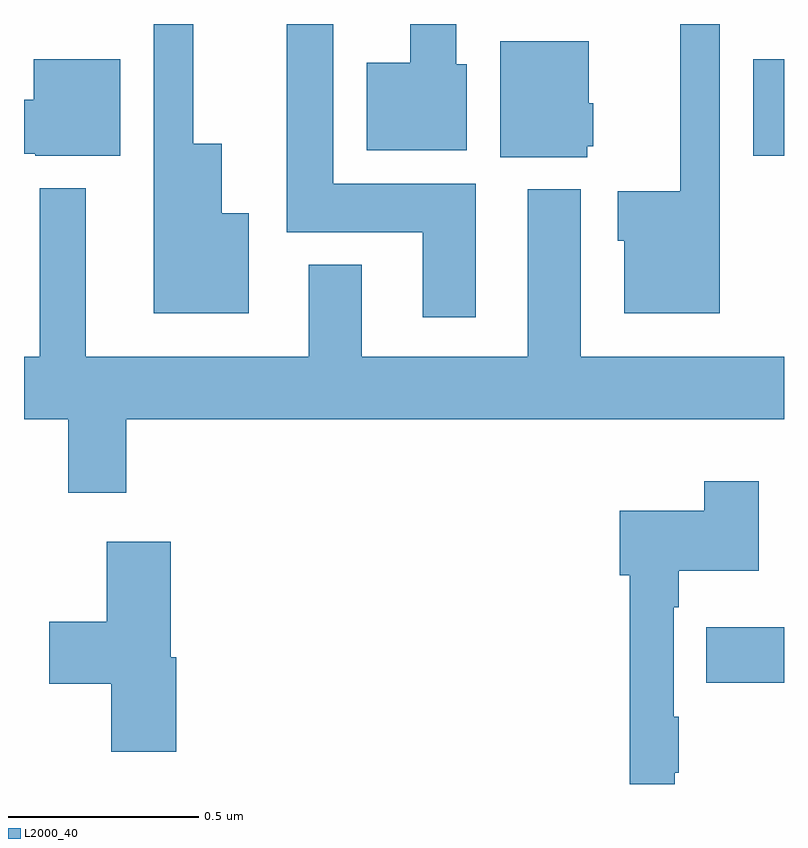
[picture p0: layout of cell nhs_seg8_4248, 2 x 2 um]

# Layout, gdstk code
import gdstk
lib = gdstk.Library(unit=1e-6, precision=1e-09)
def R(c, l, rs):  # rectangles x0, y0, x1, y1
    for r in rs: c.add(gdstk.rectangle(r[:2], r[2:], *l))
def P(c, l, *ps):  # polygons
    for p in ps: c.add(gdstk.Polygon(p, *l))
L2000_40 = (2000, 40)

nhs_seg8_4248 = lib.new_cell('nhs_seg8_4248')
R(nhs_seg8_4248, L2000_40, [(169.795,1089.166,170,1089.313), (169.919,1090.553,170,1090.807)])
P(nhs_seg8_4248, L2000_40, [(169.189,1090.48),(168.814,1090.48),(168.814,1090.9),(168.692,1090.9),(168.692,1090.352),(169.049,1090.352),(169.049,1090.128),(169.189,1090.128)],
  [(169.165,1090.794),(169.138,1090.794),(169.138,1090.9),(169.016,1090.9),(169.016,1090.798),(168.902,1090.798),(168.902,1090.568),(169.165,1090.568)],
  [(168.592,1090.402),(168.52,1090.402),(168.52,1090.585),(168.445,1090.585),(168.445,1090.9),(168.341,1090.9),(168.341,1090.139),(168.592,1090.139)],
  [(169.831,1090.9),(169.727,1090.9),(169.727,1090.46),(169.562,1090.46),(169.562,1090.329),(169.58,1090.329),(169.58,1090.139),(169.831,1090.139)],
  [(169.482,1090.578),(169.498,1090.578),(169.498,1090.692),(169.486,1090.692),(169.486,1090.855),(169.253,1090.855),(169.253,1090.55),(169.482,1090.55)],
  [(168.253,1090.807),(168.026,1090.807),(168.026,1090.701),(168,1090.701),(168,1090.559),(168.03,1090.559),(168.03,1090.553),(168.253,1090.553)],
  [(168.269,1089.86),(170,1089.86),(170,1090.024),(169.465,1090.024),(169.465,1090.465),(169.325,1090.465),(169.325,1090.024),(168.889,1090.024),(168.889,1090.267),(168.749,1090.267),(168.749,1090.024),(168.163,1090.024),(168.163,1090.468),(168.042,1090.468),(168.042,1090.024),(168,1090.024),(168,1089.86),(168.116,1089.86),(168.116,1089.666),(168.269,1089.666)],
  [(169.712,1088.929),(169.723,1088.929),(169.723,1089.077),(169.71,1089.077),(169.71,1089.365),(169.723,1089.365),(169.723,1089.461),(169.933,1089.461),(169.933,1089.697),(169.79,1089.697),(169.79,1089.619),(169.568,1089.619),(169.568,1089.449),(169.594,1089.449),(169.594,1088.9),(169.712,1088.9)],
  [(168.401,1089.233),(168.386,1089.233),(168.386,1089.538),(168.218,1089.538),(168.218,1089.327),(168.066,1089.327),(168.066,1089.164),(168.23,1089.164),(168.23,1088.985),(168.401,1088.985)])

lib.write_gds('nhs_seg8_4248.gds')
